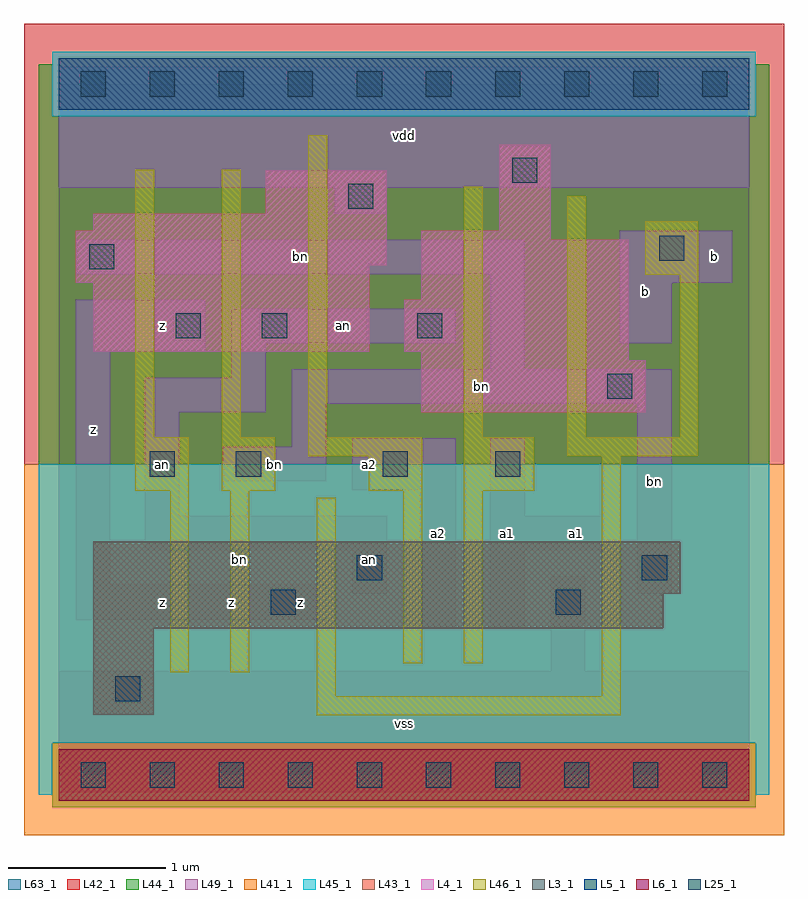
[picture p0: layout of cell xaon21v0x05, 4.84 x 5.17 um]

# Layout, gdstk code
import gdstk
lib = gdstk.Library(unit=1e-6, precision=1e-09)
def R(c, l, rs):  # rectangles x0, y0, x1, y1
    for r in rs: c.add(gdstk.rectangle(r[:2], r[2:], *l))
def A(c, l, x, y, w, h, nx, ny, dx, dy):  # array of equal rectangles
    R(c, l, [(x+i*dx, y+j*dy, x+i*dx+w, y+j*dy+h) for i in range(nx) for j in range(ny)])
L3_1 = (3, 1)
L4_1 = (4, 1)
L5_1 = (5, 1)
L6_1 = (6, 1)
L25_1 = (25, 1)
L41_1 = (41, 1)
L42_1 = (42, 1)
L43_1 = (43, 1)
L44_1 = (44, 1)
L45_1 = (45, 1)
L46_1 = (46, 1)
L49_1 = (49, 1)
L63_1 = (63, 1)

xaon21v0x05 = lib.new_cell('xaon21v0x05')
R(xaon21v0x05, L3_1, [(0.22,0.385,0.605,0.935), (0.22,0.935,3.85,1.155), (0.22,1.155,3.96,1.485)])
R(xaon21v0x05, L4_1, [(2.31,2.31,3.74,2.64), (2.31,2.64,3.63,2.695), (0.22,2.695,1.98,3.135), (2.2,2.695,3.63,3.025), (2.31,3.025,3.63,3.41), (0.11,3.135,1.98,3.245), (0.11,3.245,2.09,3.465), (2.31,3.41,3.135,3.465), (0.22,3.465,2.09,3.575), (2.805,3.465,3.135,4.015), (1.32,3.575,2.09,3.85)])
R(xaon21v0x05, L5_1, [(0,4.235,4.4,4.565)])
R(xaon21v0x05, L6_1, [(0,-0.165,4.4,0.165)])
A(xaon21v0x05, L25_1, 0.14, -0.08, 0.16, 0.16, 10, 2, 0.44, 4.4)
R(xaon21v0x05, L25_1, [(0.36,0.47,0.52,0.63), (1.35,1.02,1.51,1.18), (3.165,1.02,3.325,1.18), (1.9,1.24,2.06,1.4), (3.715,1.24,3.875,1.4), (0.58,1.9,0.74,2.06), (1.13,1.9,1.29,2.06), (2.065,1.9,2.225,2.06), (2.78,1.9,2.94,2.06), (3.495,2.395,3.655,2.555), (0.745,2.78,0.905,2.94), (1.295,2.78,1.455,2.94), (2.285,2.78,2.445,2.94), (0.195,3.22,0.355,3.38), (3.825,3.275,3.985,3.435), (1.845,3.605,2.005,3.765), (2.89,3.77,3.05,3.93)])
R(xaon21v0x05, L41_1, [(-0.22,-0.385,4.62,1.98)])
R(xaon21v0x05, L42_1, [(-0.22,1.98,4.62,4.785)])
R(xaon21v0x05, L43_1, [(0,-0.165,4.4,0.165), (0.22,0.385,0.605,0.935), (0.22,0.935,3.85,1.155), (0.22,1.155,3.96,1.485), (2.31,2.31,3.74,2.64), (2.31,2.64,3.63,2.695), (0.22,2.695,1.98,3.135), (2.2,2.695,3.63,3.025), (2.31,3.025,3.63,3.41), (0.11,3.135,1.98,3.245), (0.11,3.245,2.09,3.465), (2.31,3.41,3.135,3.465), (0.22,3.465,2.09,3.575), (2.805,3.465,3.135,4.015), (1.32,3.575,2.09,3.85), (0,4.235,4.4,4.565)])
R(xaon21v0x05, L44_1, [(-0.04,-0.205,4.44,0.205), (-0.125,1.98,4.525,4.195), (-0.125,4.195,-0.04,4.525), (4.44,4.195,4.525,4.525)])
R(xaon21v0x05, L45_1, [(-0.125,-0.125,-0.04,0.205), (4.44,-0.125,4.525,0.205), (-0.125,0.205,4.525,1.98), (-0.04,4.195,4.44,4.605)])
R(xaon21v0x05, L46_1, [(1.645,0.38,3.58,0.5), (1.645,0.5,1.765,1.765), (3.46,0.5,3.58,2.03), (0.71,0.655,0.83,1.81), (1.095,0.655,1.215,1.81), (2.195,0.71,2.315,1.81), (2.58,0.71,2.7,1.81), (0.49,1.81,0.83,2.15), (1.04,1.81,1.38,2.15), (1.975,1.81,2.315,2.03), (2.58,1.81,3.03,2.15), (1.59,2.03,2.315,2.15), (3.24,2.03,4.075,2.15), (0.49,2.15,0.61,3.855), (1.04,2.15,1.16,3.855), (1.59,2.15,1.71,4.075), (2.58,2.15,2.7,3.745), (3.24,2.15,3.36,3.69), (3.955,2.15,4.075,3.185), (3.735,3.185,4.075,3.525)])
R(xaon21v0x05, L49_1, [(0,-0.11,4.4,0.66), (3.135,0.66,3.355,1.265), (2.31,0.935,2.53,1.815), (2.75,0.935,2.97,1.43), (0.11,0.99,1.705,1.21), (1.87,1.155,2.09,1.43), (3.685,1.155,3.905,2.365), (0.11,1.21,0.33,2.695), (0.55,1.43,2.09,1.65), (2.75,1.43,3.465,1.65), (0.55,1.65,0.77,2.31), (2.75,1.65,2.97,2.145), (1.87,1.815,2.53,2.145), (1.045,1.87,1.705,2.09), (1.485,2.09,1.705,2.365), (0.55,2.31,1.32,2.53), (1.485,2.365,3.905,2.585), (1.1,2.53,1.32,2.75), (2.75,2.585,2.97,3.19), (0.11,2.695,0.935,3.025), (1.1,2.75,2.53,2.97), (3.575,2.75,3.905,3.135), (3.575,3.135,4.29,3.465), (0.11,3.19,2.97,3.41), (1.76,3.575,2.09,3.74), (0,3.74,4.4,4.51)])
R(xaon21v0x05, L63_1, [(0,0,4.4,4.4)])
xaon21v0x05.add(gdstk.Label('bn', (1.155,1.375), layer=46, texttype=1))
xaon21v0x05.add(gdstk.Label('an', (0.66,1.98), layer=49, texttype=1))
xaon21v0x05.add(gdstk.Label('z', (0.22,2.2), layer=49, texttype=1))
xaon21v0x05.add(gdstk.Label('z', (0.66,1.1), layer=49, texttype=1))
xaon21v0x05.add(gdstk.Label('z', (1.1,1.1), layer=49, texttype=1))
xaon21v0x05.add(gdstk.Label('z', (1.54,1.1), layer=49, texttype=1))
xaon21v0x05.add(gdstk.Label('an', (0.66,1.98), layer=49, texttype=1))
xaon21v0x05.add(gdstk.Label('z', (0.66,2.86), layer=49, texttype=1))
xaon21v0x05.add(gdstk.Label('vss', (2.2,0.33), layer=49, texttype=1))
xaon21v0x05.add(gdstk.Label('an', (1.98,1.375), layer=49, texttype=1))
xaon21v0x05.add(gdstk.Label('a2', (2.42,1.54), layer=49, texttype=1))
xaon21v0x05.add(gdstk.Label('bn', (1.375,1.98), layer=49, texttype=1))
xaon21v0x05.add(gdstk.Label('a2', (1.98,1.98), layer=49, texttype=1))
xaon21v0x05.add(gdstk.Label('an', (1.815,2.86), layer=49, texttype=1))
xaon21v0x05.add(gdstk.Label('vdd', (2.2,4.07), layer=49, texttype=1))
xaon21v0x05.add(gdstk.Label('a1', (2.86,1.54), layer=49, texttype=1))
xaon21v0x05.add(gdstk.Label('a1', (3.3,1.54), layer=49, texttype=1))
xaon21v0x05.add(gdstk.Label('bn', (1.54,3.3), layer=49, texttype=1))
xaon21v0x05.add(gdstk.Label('bn', (3.795,1.87), layer=49, texttype=1))
xaon21v0x05.add(gdstk.Label('bn', (2.695,2.475), layer=49, texttype=1))
xaon21v0x05.add(gdstk.Label('b', (3.74,3.08), layer=49, texttype=1))
xaon21v0x05.add(gdstk.Label('b', (4.18,3.3), layer=49, texttype=1))

lib.write_gds('xaon21v0x05.gds')
